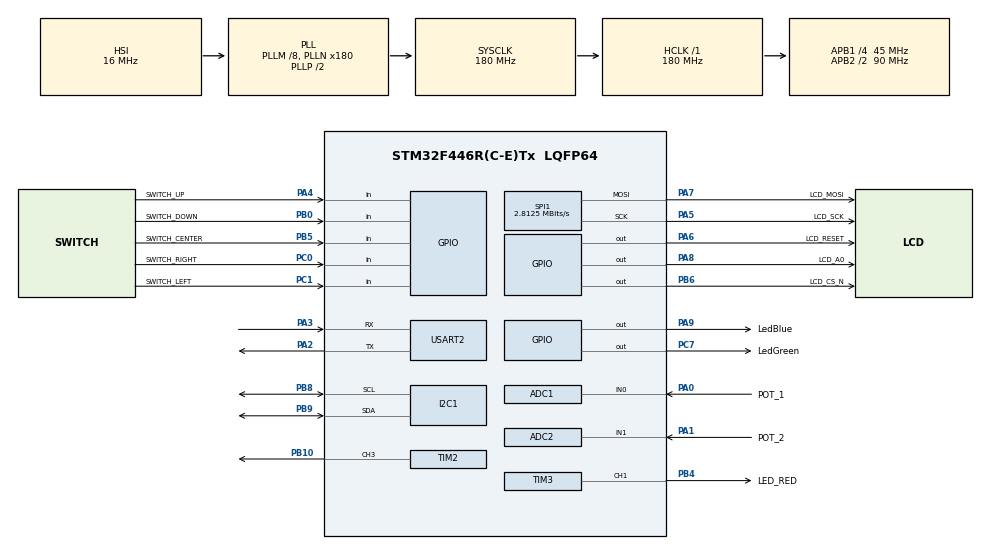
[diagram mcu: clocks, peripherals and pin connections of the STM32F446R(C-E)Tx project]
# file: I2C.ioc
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ADC1.Channel-0\#ChannelRegularConversion=ADC_CHANNEL_0
ADC1.ClockPrescaler=ADC_CLOCK_SYNC_PCLK_DIV4
ADC1.ContinuousConvMode=ENABLE
ADC1.DMAContinuousRequests=DISABLE
ADC1.DataAlign=ADC_DATAALIGN_RIGHT
ADC1.DiscontinuousConvMode=DISABLE
ADC1.EOCSelection=ADC_EOC_SEQ_CONV
ADC1.EnableAnalogWatchDog=false
ADC1.ExternalTrigConv=ADC_SOFTWARE_START
ADC1.ExternalTrigConvEdge=ADC_EXTERNALTRIGCONVEDGE_NONE
ADC1.InjNumberOfConversion=0
ADC1.NbrOfConversion=1
ADC1.NbrOfConversionFlag=1
ADC1.Rank-0\#ChannelRegularConversion=1
ADC1.Resolution=ADC_RESOLUTION_12B
ADC1.SamplingTime-0\#ChannelRegularConversion=ADC_SAMPLETIME_3CYCLES
ADC1.ScanConvMode=DISABLE
ADC1.master=1
ADC2.Channel-0\#ChannelRegularConversion=ADC_CHANNEL_1
ADC2.ClockPrescaler=ADC_CLOCK_SYNC_PCLK_DIV4
ADC2.ContinuousConvMode=ENABLE
ADC2.DMAContinuousRequests=DISABLE
ADC2.DataAlign=ADC_DATAALIGN_RIGHT
ADC2.DiscontinuousConvMode=DISABLE
ADC2.EOCSelection=ADC_EOC_SEQ_CONV
ADC2.EnableAnalogWatchDog=false
ADC2.ExternalTrigConv=ADC_SOFTWARE_START
ADC2.ExternalTrigConvEdge=ADC_EXTERNALTRIGCONVEDGE_NONE
ADC2.InjNumberOfConversion=0
ADC2.NbrOfConversion=1
ADC2.NbrOfConversionFlag=1
ADC2.Rank-0\#ChannelRegularConversion=1
ADC2.Resolution=ADC_RESOLUTION_12B
ADC2.SamplingTime-0\#ChannelRegularConversion=ADC_SAMPLETIME_3CYCLES
ADC2.ScanConvMode=DISABLE
Dma.Request0=USART2_TX
Dma.USART2_TX.0.Direction=DMA_MEMORY_TO_PERIPH
Dma.USART2_TX.0.FIFOMode=DMA_FIFOMODE_DISABLE
Dma.USART2_TX.0.Instance=DMA1_Stream6
Dma.USART2_TX.0.MemDataAlignment=DMA_MDATAALIGN_BYTE
Dma.USART2_TX.0.MemInc=DMA_MINC_ENABLE
Dma.USART2_TX.0.Mode=DMA_NORMAL
Dma.USART2_TX.0.PeriphDataAlignment=DMA_PDATAALIGN_BYTE
Dma.USART2_TX.0.PeriphInc=DMA_PINC_DISABLE
Dma.USART2_TX.0.Priority=DMA_PRIORITY_MEDIUM
Mcu.Family=STM32F4
Mcu.Name=STM32F446R(C-E)Tx
Mcu.Package=LQFP64
NVIC.DMA1_Stream6_IRQn=true\:0\:0\:false\:false\:true\:false
NVIC.PriorityGroup=NVIC_PRIORITYGROUP_4
PA0-WKUP.GPIO_Label=POT_1
PA0-WKUP.Signal=ADCx_IN0
PA1.GPIO_Label=POT_2
PA1.Signal=ADCx_IN1
PA13.Mode=Serial_Wire
PA13.Signal=SYS_JTMS-SWDIO
PA14.Mode=Serial_Wire
PA14.Signal=SYS_JTCK-SWCLK
PA2.Mode=Asynchronous
PA2.Signal=USART2_TX
PA3.Mode=Asynchronous
PA3.Signal=USART2_RX
PA4.GPIO_Label=SWITCH_UP
PA4.Signal=GPIO_Input
PA5.GPIO_Label=LCD_SCK
PA5.Mode=TX_Only_Simplex_Unidirect_Master
PA5.Signal=SPI1_SCK
PA6.GPIO_Label=LCD_RESET
PA6.Signal=GPIO_Output
PA7.GPIO_Label=LCD_MOSI
PA7.Mode=TX_Only_Simplex_Unidirect_Master
PA7.Signal=SPI1_MOSI
PA8.GPIO_Label=LCD_A0
PA8.Signal=GPIO_Output
PA9.GPIO_Label=LedBlue
PA9.GPIO_Speed=GPIO_SPEED_FREQ_HIGH
PA9.PinState=GPIO_PIN_RESET
PA9.Signal=GPIO_Output
PB0.GPIO_Label=SWITCH_DOWN
PB0.Signal=GPIO_Input
PB10.Signal=S_TIM2_CH3
PB4.GPIO_Label=LED_RED
PB4.Signal=S_TIM3_CH1
PB5.GPIO_Label=SWITCH_CENTER
PB5.Signal=GPIO_Input
PB6.GPIO_Label=LCD_CS_N
PB6.Signal=GPIO_Output
PB8.Mode=I2C
PB8.Signal=I2C1_SCL
PB9.Mode=I2C
PB9.Signal=I2C1_SDA
PC0.GPIO_Label=SWITCH_RIGHT
PC0.Signal=GPIO_Input
PC1.GPIO_Label=SWITCH_LEFT
PC1.Signal=GPIO_Input
PC7.GPIO_Label=LedGreen
PC7.Signal=GPIO_Output
PH0-OSC_IN.Mode=HSE-External-Oscillator
PH0-OSC_IN.Signal=RCC_OSC_IN
PH1-OSC_OUT.Mode=HSE-External-Oscillator
PH1-OSC_OUT.Signal=RCC_OSC_OUT
ProjectManager.HeapSize=0x200
ProjectManager.StackSize=0x400
ProjectManager.TargetToolchain=MDK-ARM V5
RCC.AHBFreq_Value=180000000
RCC.APB1CLKDivider=RCC_HCLK_DIV4
RCC.APB1Freq_Value=45000000
RCC.APB1TimFreq_Value=90000000
RCC.APB2CLKDivider=RCC_HCLK_DIV2
RCC.APB2Freq_Value=90000000
RCC.APB2TimFreq_Value=180000000
RCC.CortexFreq_Value=180000000
RCC.HCLKFreq_Value=180000000
RCC.PLLM=8
RCC.PLLN=180
RCC.SYSCLKFreq_VALUE=180000000
RCC.SYSCLKSource=RCC_SYSCLKSOURCE_PLLCLK
RCC.USBFreq_Value=180000000
RCC.VCOOutputFreq_Value=360000000
SH.ADCx_IN0.0=ADC1_IN0,IN0
SH.ADCx_IN1.0=ADC2_IN1,IN1
SH.S_TIM2_CH3.0=TIM2_CH3,PWM Generation3 CH3
SH.S_TIM3_CH1.0=TIM3_CH1,PWM Generation1 CH1
SPI1.BaudRatePrescaler=SPI_BAUDRATEPRESCALER_32
SPI1.CalculateBaudRate=2.8125 MBits/s
SPI1.Direction=SPI_DIRECTION_2LINES
SPI1.Mode=SPI_MODE_MASTER
SPI1.VirtualType=VM_MASTER
TIM2.Channel-PWM\ Generation3\ CH3=TIM_CHANNEL_3
TIM2.Prescaler=90-1
TIM3.Channel-PWM\ Generation1\ CH1=TIM_CHANNEL_1
TIM3.OCPolarity_1=TIM_OCPOLARITY_LOW
TIM3.Period=1000-1
TIM3.Prescaler=900-1
USART2.VirtualMode=VM_ASYNC
board=custom

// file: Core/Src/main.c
/**
  ******************************************************************************
  * @file           : main.c
  * @brief          : Main program body
  ******************************************************************************
  ** This notice applies to any and all portions of this file
  * that are not between comment pairs USER CODE BEGIN and
  * USER CODE END. Other portions of this file, whether
  * inserted by the user or by software development tools
  * are owned by their respective copyright owners.
  *
  * COPYRIGHT(c) 2018 STMicroelectronics
  *
  * Redistribution and use in source and binary forms, with or without modification,
  * are permitted provided that the following conditions are met:
  *   1. Redistributions of source code must retain the above copyright notice,
  *      this list of conditions and the following disclaimer.
  *   2. Redistributions in binary form must reproduce the above copyright notice,
  *      this list of conditions and the following disclaimer in the documentation
  *      and/or other materials provided with the distribution.
  *   3. Neither the name of STMicroelectronics nor the names of its contributors
  *      may be used to endorse or promote products derived from this software
  *      without specific prior written permission.
  *
  * THIS SOFTWARE IS PROVIDED BY THE COPYRIGHT HOLDERS AND CONTRIBUTORS "AS IS"
  * AND ANY EXPRESS OR IMPLIED WARRANTIES, INCLUDING, BUT NOT LIMITED TO, THE
  * IMPLIED WARRANTIES OF MERCHANTABILITY AND FITNESS FOR A PARTICULAR PURPOSE ARE
  * DISCLAIMED. IN NO EVENT SHALL THE COPYRIGHT HOLDER OR CONTRIBUTORS BE LIABLE
  * FOR ANY DIRECT, INDIRECT, INCIDENTAL, SPECIAL, EXEMPLARY, OR CONSEQUENTIAL
  * DAMAGES (INCLUDING, BUT NOT LIMITED TO, PROCUREMENT OF SUBSTITUTE GOODS OR
  * SERVICES; LOSS OF USE, DATA, OR PROFITS; OR BUSINESS INTERRUPTION) HOWEVER
  * CAUSED AND ON ANY THEORY OF LIABILITY, WHETHER IN CONTRACT, STRICT LIABILITY,
  * OR TORT (INCLUDING NEGLIGENCE OR OTHERWISE) ARISING IN ANY WAY OUT OF THE USE
  * OF THIS SOFTWARE, EVEN IF ADVISED OF THE POSSIBILITY OF SUCH DAMAGE.
  *
  ******************************************************************************
  */
#include "main.h"
#include "stm32f4xx_hal.h"
#include "adc.h"
#include "dma.h"
#include "i2c.h"
#include "spi.h"
#include "tim.h"
#include "usart.h"
#include "gpio.h"

/* USER CODE BEGIN Includes */
#include "stdio.h"
#include "string.h"
#include "lcd_driver.h"
#include "stdbool.h"
#include "joystick.h"
#include "lcd_menu.h"
#include "lcd_menu_definition.h"
/* USER CODE END Includes */

/* USER CODE BEGIN PV */
/* Private variables ---------------------------------------------------------*/
#define STATUSREGISTER 7
#define temperatureSensorSlaveAdress 0x90
#define temperatureSensorRegisterTemp 0x00
#define acellSlaveAdress 0x98
#define accelXoutRegister 0x00
#define filterItemCount 100

typedef struct FilterData_{
  float sum;
  int index;
  float data[filterItemCount];
} FilterData;

typedef struct ProcessData_{
  	float temperature;
	  float Accelerometer_X;
	  float Accelerometer_Y;
	  float Accelerometer_Z;
		FilterData X;
		FilterData Y;
		FilterData Z;
} ProcessData;

typedef struct AppData_{
	ProcessData current;
	ProcessData previous;
} AppData;

volatile uint32_t msMenuTicks=0; //!< Menu Update timer being modified by the SysTick interrupt
static AppData myData;  //must be static such that the compiler won't optimise. Used with callback

/* USER CODE END PV */

void SystemClock_Config(void);

/* USER CODE BEGIN PFP */
/* Private function prototypes -----------------------------------------------*/
 float valueToG(uint8_t value);
void updateData(AppData *data);
void drawMenuItem_Callback2(int event, void* data);
void handleEvent(int event, AppData *data);
float filterAdd(FilterData *filter, float value);
/* USER CODE END PFP */

int main(void)
{
  /* USER CODE BEGIN 1 */
	uint8_t accelSetupData[4]={STATUSREGISTER,0,STATUSREGISTER,1};
  /* USER CODE END 1 */

  /* MCU Configuration----------------------------------------------------------*/

  /* Reset of all peripherals, Initializes the Flash interface and the Systick. */
  HAL_Init();

  /* Configure the system clock */
  SystemClock_Config();

  /* Initialize all configured peripherals */
  MX_GPIO_Init();
  MX_DMA_Init();
  MX_SPI1_Init();
  MX_USART2_UART_Init();
  MX_ADC2_Init();
  MX_ADC1_Init();
  MX_TIM3_Init();
  MX_TIM2_Init();
  MX_I2C1_Init();

  /* Infinite loop */
  /* USER CODE BEGIN WHILE */
	HAL_GPIO_WritePin(LedGreen_GPIO_Port,LedGreen_Pin,GPIO_PIN_SET);
	lcd_init ();
	lcd_clear();
	lcd_setString(0,0,"Menu and callback",LCD_FONT_8,false);
	lcd_show();
	HAL_Delay(1000);
	HAL_GPIO_WritePin(LedBlue_GPIO_Port,LedBlue_Pin,GPIO_PIN_SET);
	HAL_I2C_Master_Transmit(&hi2c1, acellSlaveAdress,&accelSetupData[0],2,10);
	HAL_I2C_Master_Transmit(&hi2c1, acellSlaveAdress,&accelSetupData[2],2,10);
	menu_setMainMenu(&mainMenu);
	Joystick joystick;
  Joystick_init(&joystick);
  menu_navigation nextNavigation = MENU_NOP;
	menu_event event = MENU_NO_EVENT;
	menu_registerDrawMenuItem2(drawMenuItem_Callback2, (void *) &myData);  //!< define the callback function
  while (1)
  {
  /* USER CODE END WHILE */

  /* USER CODE BEGIN 3 */
		joystick.sample(&joystick);
		updateData(&myData);
		HAL_Delay(5);
		if (msMenuTicks >= 100) {  // LCD display ok with 50ms, otherwise stray characters
			msMenuTicks = 0;
      nextNavigation = (menu_navigation) joystick.getDirection(&joystick);
      event = menu_update(nextNavigation);
      menu_show();
			handleEvent((int) event, &myData);
      }
 }
  /* USER CODE END 3 */

}

void SystemClock_Config(void)
{

  RCC_OscInitTypeDef RCC_OscInitStruct;
  RCC_ClkInitTypeDef RCC_ClkInitStruct;

    /**Configure the main internal regulator output voltage
    */
  __HAL_RCC_PWR_CLK_ENABLE();

  __HAL_PWR_VOLTAGESCALING_CONFIG(PWR_REGULATOR_VOLTAGE_SCALE1);

    /**Initializes the CPU, AHB and APB busses clocks
    */
  RCC_OscInitStruct.OscillatorType = RCC_OSCILLATORTYPE_HSI;
  RCC_OscInitStruct.HSIState = RCC_HSI_ON;
  RCC_OscInitStruct.HSICalibrationValue = 16;
  RCC_OscInitStruct.PLL.PLLState = RCC_PLL_ON;
  RCC_OscInitStruct.PLL.PLLSource = RCC_PLLSOURCE_HSI;
  RCC_OscInitStruct.PLL.PLLM = 8;
  RCC_OscInitStruct.PLL.PLLN = 180;
  RCC_OscInitStruct.PLL.PLLP = RCC_PLLP_DIV2;
  RCC_OscInitStruct.PLL.PLLQ = 2;
  RCC_OscInitStruct.PLL.PLLR = 2;
  if (HAL_RCC_OscConfig(&RCC_OscInitStruct) != HAL_OK)
  {
    _Error_Handler(__FILE__, __LINE__);
  }

    /**Activate the Over-Drive mode
    */
  if (HAL_PWREx_EnableOverDrive() != HAL_OK)
  {
    _Error_Handler(__FILE__, __LINE__);
  }

    /**Initializes the CPU, AHB and APB busses clocks
    */
  RCC_ClkInitStruct.ClockType = RCC_CLOCKTYPE_HCLK|RCC_CLOCKTYPE_SYSCLK
                              |RCC_CLOCKTYPE_PCLK1|RCC_CLOCKTYPE_PCLK2;
  RCC_ClkInitStruct.SYSCLKSource = RCC_SYSCLKSOURCE_PLLCLK;
  RCC_ClkInitStruct.AHBCLKDivider = RCC_SYSCLK_DIV1;
  RCC_ClkInitStruct.APB1CLKDivider = RCC_HCLK_DIV4;
  RCC_ClkInitStruct.APB2CLKDivider = RCC_HCLK_DIV2;

  if (HAL_RCC_ClockConfig(&RCC_ClkInitStruct, FLASH_LATENCY_5) != HAL_OK)
  {
    _Error_Handler(__FILE__, __LINE__);
  }

    /**Configure the Systick interrupt time
    */
  HAL_SYSTICK_Config(HAL_RCC_GetHCLKFreq()/1000);

    /**Configure the Systick
    */
  HAL_SYSTICK_CLKSourceConfig(SYSTICK_CLKSOURCE_HCLK);

  /* SysTick_IRQn interrupt configuration */
  HAL_NVIC_SetPriority(SysTick_IRQn, 0, 0);
}

/* USER CODE BEGIN 4 */

 float valueToG(uint8_t value){
	 static float returnValue;
	 returnValue= ((float)value)/21.33F;
	 static uint8_t temp;
	 if(value>31){
		 temp= ~(value);
		 temp++;
		 temp= temp & 0x1f;
		 returnValue= (-(float)temp)/21.33F;
 }
	 return returnValue;
}

void drawMenuItem_Callback2(int event, void* data){

  char buf[10]="";
	char bufY[10]="";
	char bufZ[10]="";
  AppData* ad = data; //!< Convert to our application data structure
	switch (event) {
	case 1:
		sprintf(buf, "%.3f", ad->current.temperature);
		strcat(buf," C ");
		lcd_setString(2,10,(const char*) &buf,LCD_FONT_8,false);
	  break;
	case 2:
		sprintf(buf, "%.3f", ad->current.Accelerometer_X);
		strcat(buf,"g");
		lcd_setString(2,10,"                 ",LCD_FONT_8,false);
		lcd_setString(2,10,"X: ",LCD_FONT_8,false);
	  lcd_setString(10,10,(const char*) &buf,LCD_FONT_8,false);
		sprintf(bufY, "%.3f", ad->current.Accelerometer_Y);
		strcat(bufY,"g");
		lcd_setString(2,20,"                 ",LCD_FONT_8,false);
		lcd_setString(2,20,"Y: ",LCD_FONT_8,false);
	  lcd_setString(10,20,(const char*) &bufY,LCD_FONT_8,false);
		sprintf(bufZ, "%.3f", ad->current.Accelerometer_Z);
		strcat(bufZ,"g");
		lcd_setString(60,10,"                ",LCD_FONT_8,false);
		lcd_setString(60,10,"Z  ",LCD_FONT_8,false);
	  lcd_setString(70,10,(const char*) &bufZ,LCD_FONT_8,false);
    break;
	default: ;
	}
}

/**
* @param event The menu event to be handled
* @param *data Pointer to the application data
*/
void handleEvent(int event, AppData *data) {
}

/**
* Updates all data
* @param data Pointer to application data
*/
void updateData(AppData *data) {

  static float accelX_value;
  static float accelY_value;
  static float accelZ_value;
	uint8_t bufRX[4]="";
	static float temperature;
	static uint16_t temp = 0;
	uint32_t i2cstatus =0;

	  // Keep all data of last process image
	data->previous = data->current;
	i2cstatus =HAL_I2C_Master_Transmit(&hi2c1,temperatureSensorSlaveAdress ,(uint8_t *)temperatureSensorRegisterTemp,1,10);
	if(i2cstatus == HAL_OK){
		i2cstatus =HAL_I2C_Master_Receive(&hi2c1, temperatureSensorSlaveAdress,(uint8_t *)&bufRX[0],2,100);
		if(i2cstatus == HAL_OK){
			temp = bufRX[1] + bufRX[0]*256;
			temp = temp>>5;
			if(temp & (1<<10)) temp |= 0xF800;
			temperature = 0.125F * (float)temp;
			data->current.temperature=temperature;
		}
	}
	i2cstatus =HAL_I2C_Master_Transmit(&hi2c1, acellSlaveAdress,(uint8_t *)accelXoutRegister,1,10);
	if( i2cstatus	 == HAL_OK){
		i2cstatus =HAL_I2C_Master_Receive(&hi2c1, acellSlaveAdress,(uint8_t *)&bufRX[0],3,100);
		if( i2cstatus	 == HAL_OK){
			if ((((uint8_t)bufRX[0]>>7) &0x01)==0){
				accelX_value = valueToG(((uint8_t)bufRX[0]<<2)>>2);
				data->current.Accelerometer_X=filterAdd(&data->current.X,accelX_value);
			}
			if ((((uint8_t)bufRX[1]>>7) &0x01)==0){
				accelY_value = valueToG(((uint8_t)bufRX[1]<<2)>>2);
				data->current.Accelerometer_Y=filterAdd(&data->current.Y,accelY_value);
			}
			if ((((uint8_t)bufRX[2]>>7) &0x01)==0){
				accelZ_value = valueToG(((uint8_t)bufRX[2]<<2)>>2);
				data->current.Accelerometer_Z=filterAdd(&data->current.Z,accelZ_value);
			}
		}
	}
}

float filterAdd(FilterData *filter, float value){
	filter->sum -= filter->data[filter->index]; // throw away last value in ring
	filter->sum += value;                   // add new value to the sum of all values
	filter->data[filter->index++] = value;    // store current value and increment list index
  if (filter->index >= filterItemCount) { // wrap around after last index
    filter->index = 0;
	}
  return filter->sum / filterItemCount;	  // return average value
}

void HAL_SYSTICK_Callback(void) {
	msMenuTicks++;
}
/* USER CODE END 4 */

void _Error_Handler(char *file, int line)
{
  while(1)
  {
  }
}

/************************ (C) COPYRIGHT STMicroelectronics *****END OF FILE****/
